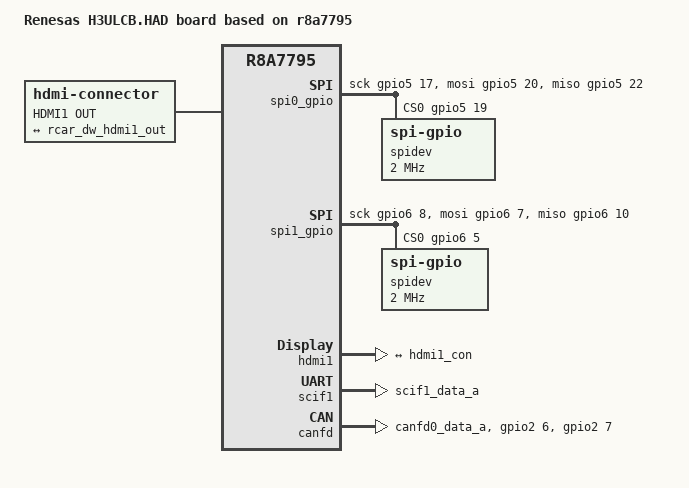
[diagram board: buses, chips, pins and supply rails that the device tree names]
/*
 * Device Tree Source for the H3ULCB.HAD board on r8a7795
 *
 * Copyright (C) 2016-2017 Renesas Electronics Corp.
 * Copyright (C) 2016-2017 Cogent Embedded, Inc.
 *
 * This file is licensed under the terms of the GNU General Public License
 * version 2.  This program is licensed "as is" without any warranty of any
 * kind, whether express or implied.
 */

/*
 * MSIOF0 - /dev/spidev1.0 connected to FPGA ethernet switch (both sides)
 * MSIOF1 - /dev/spidev2.0 connected to RH850 (sideA to CSIH1, sideB to CSIH0)
 */

#include "r8a7795-h3ulcb-view.dts"

/ {
	model = "Renesas H3ULCB.HAD board based on r8a7795";

	aliases {
		serial0 = &scif1;
		spi1 = &spi0_gpio;
		spi2 = &spi1_gpio;
	};

	spi0_gpio: spi_gpio@0 {
		compatible = "spi-gpio";
		num-chipselects = <1>;
		gpio-sck = <&gpio5 17 0>;
		gpio-mosi = <&gpio5 20 0>;
		gpio-miso = <&gpio5 22 0>;
		cs-gpios = <&gpio5 19 0>;
		#address-cells = <1>;
		#size-cells = <0>;

		spidev@0 {
			compatible = "spi-gpio";
			reg = <0>;
			spi-max-frequency = <2000000>;
			spi-cpha;
			spi-cpol;
		};
	};

	spi1_gpio: spi_gpio@1 {
		compatible = "spi-gpio";
		num-chipselects = <1>;
		gpio-sck = <&gpio6 8 0>;
		gpio-mosi = <&gpio6 7 0>;
		gpio-miso = <&gpio6 10 0>;
		cs-gpios = <&gpio6 5 0>;
		#address-cells = <1>;
		#size-cells = <0>;

		spidev@0 {
			compatible = "spi-gpio";
			reg = <0>;
			spi-max-frequency = <2000000>;
			spi-cpha;
			spi-cpol;
		};
	};

	hdmi1-out {
		compatible = "hdmi-connector";
		label = "HDMI1 OUT";
		type = "a";

		port {
			hdmi1_con: endpoint {
			};
		};
	};
};

&hdmi1 {
	status = "okay";

	ports {
		port@1 {
			reg = <1>;
			rcar_dw_hdmi1_out: endpoint {
				remote-endpoint = <&hdmi1_con>;
			};
		};
	};
};

&hdmi1_con {
	remote-endpoint = <&rcar_dw_hdmi1_out>;
};

&pfc {
	scif1_pins: scif1 {
		groups = "scif1_data_a";
		function = "scif1";
	};

	msiof0_pins: spi1 {
		groups = "msiof0_clk", "msiof0_rxd",  "msiof0_txd",
			 "msiof0_ss1";
		function = "msiof0";
	};

	msiof1_pins: spi2 {
		groups = "msiof1_clk_a", "msiof1_rxd_a", "msiof1_txd_a",
			 "msiof1_ss1_a";
		function = "msiof1";
	};

	sound_clk_pins: sound-clk {
		groups = "audio_clk_a_a", "audio_clk_b_a", "audio_clk_c_a",
			 "audio_clkout_a" /*, "audio_clkout3_a"*/;
		function = "audio_clk";
	};

	usb31_pins: usb31 {
		groups = "usb31";
		function = "usb31";
	};

	can0_pins: can0 {
		groups = "can0_data_a";
		function = "can0";
	};

	canfd0_pins: canfd0 {
		groups = "canfd0_data_a";
		function = "canfd0";
	};
};

&scif1 {
	pinctrl-0 = <&scif1_pins>;
	pinctrl-names = "default";
	status = "okay";
};

&avb {
	/delete-property/phy-handle;
	/delete-property/phy-gpios;
	/delete-node/ethernet-phy@0;

	fixed-link {
		speed = <1000>;
		full-duplex;
	};
};

&msiof0 {
	pinctrl-0 = <&msiof0_pins>;
	pinctrl-names = "default";
	status = "disabled";
	cs-gpios = <&gpio5 19 0>;

	spidev@0 {
		compatible = "renesas,sh-msiof";
		reg = <0>;
		spi-max-frequency = <66666666>;
		spi-cpha;
		spi-cpol;
	};
};

&msiof1 {
	status = "disabled";
	cs-gpios = <&gpio6 5 0>;
};

&can0 {
	pinctrl-0 = <&can0_pins>;
	pinctrl-names = "default";
	status = "disabled";

	renesas,can-clock-select = <0x0>;
	gpios = <&gpio2 6 GPIO_ACTIVE_HIGH /* enable - shared with camera board */
		 &gpio2 7 GPIO_ACTIVE_LOW /* standby */
		>;
};

&canfd {
	pinctrl-0 = <&canfd0_pins>;
	pinctrl-names = "default";
	status = "okay";

	renesas,can-clock-select = <0x0>;
	gpios = <&gpio2 6 GPIO_ACTIVE_HIGH /* enable - shared with camera board */
		 &gpio2 7 GPIO_ACTIVE_LOW /* standby */
		>;

	channel0 {
		status = "okay";
	};
};
